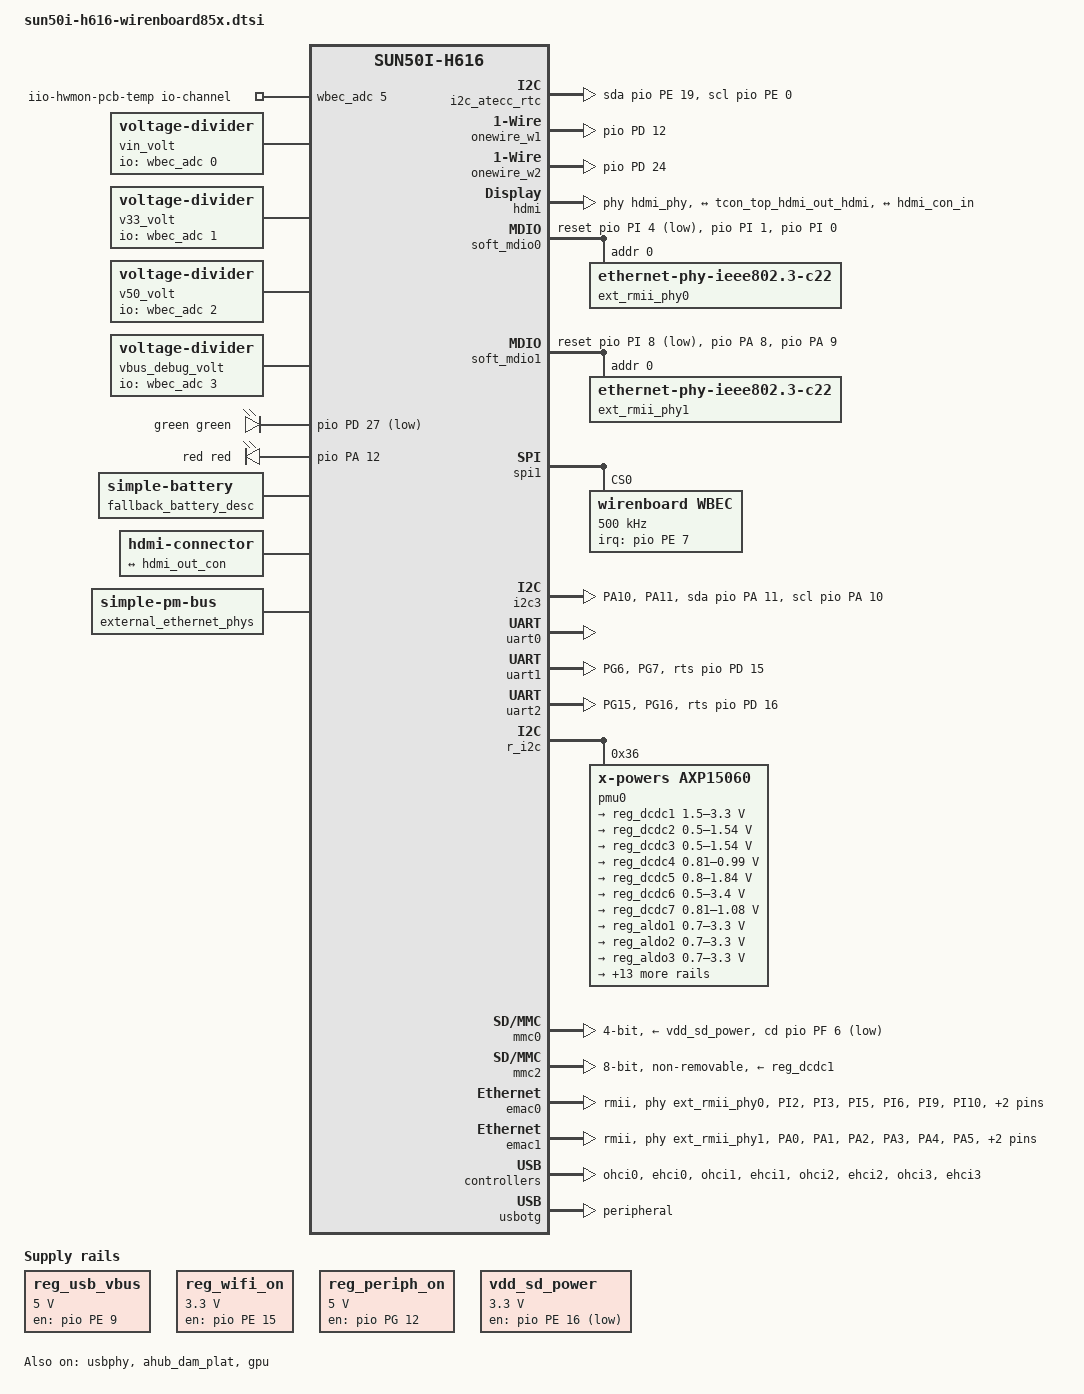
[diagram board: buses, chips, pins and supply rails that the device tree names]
// SPDX-License-Identifier: (GPL-2.0+ OR MIT)
// vim: autoindent noexpandtab tabstop=4 shiftwidth=4
/*
 * Copyright (C) 2024 Wiren Board
 */

/dts-v1/;

#include "sun50i-h616.dtsi"
#include "sun50i-h616-cpu-opp.dtsi"
#include "sun50i-h616-gpu-opp.dtsi"

#include <dt-bindings/gpio/gpio.h>
#include <dt-bindings/interrupt-controller/arm-gic.h>
#include <dt-bindings/leds/common.h>

#define PA 0
#define PB 1
#define PC 2
#define PD 3
#define PE 4
#define PF 5
#define PG 6
#define PH 7
#define PI 8

/ {
	aliases: aliases {
		serial0 = &uart0;
		serial1 = &uart1;
		serial2 = &uart2;
		serial4 = &uart4;
		serial5 = &uart5;
		mmc0 = &mmc2;
		mmc1 = &mmc0;
		mdio-gpio0 = &soft_mdio0;
		mdio-gpio1 = &soft_mdio1;
		ethernet0 = &emac0;
		ethernet1 = &emac1;
		watchdog0 = &watchdog;  // internal
		watchdog1 = &wbec_watchdog;
		i2c0 = &r_i2c;  // PMIC
		i2c1 = &i2c3;  // WBIO
		i2c2 = &i2c_atecc_rtc;  // ATECC must be on i2c2 for compatibility
		rtc0 = &rtc_onboard;
		rtc1 = &rtc;
		wbc_modem = &wbc_modem;
		rtc_onboard = &rtc_onboard;
		sound0 = &ahub1_mach;
	};

	wirenboard {
		adc-type = <3>;
		pwm-buzzer = <0>;

		analog-inputs {
			/* we don't use standard 'io-channels = <&adc1 N>' here because
			   there is seemingly no way to associate iio channel index (N
			   in above example) with channel name as in sysfs path
			*/
			A1 {
				iio-device = <&a1_volt>;
				decimal-places = <1>;
				averaging-window = <1>;
				sort-order = <0>;
			};

			A2 {
				iio-device = <&a2_volt>;
				decimal-places = <1>;
				averaging-window = <1>;
				sort-order = <1>;
			};

			A3 {
				iio-device = <&a3_volt>;
				decimal-places = <1>;
				averaging-window = <1>;
				sort-order = <2>;
			};

			A4 {
				iio-device = <&a4_volt>;
				decimal-places = <1>;
				averaging-window = <1>;
				sort-order = <2>;
			};

			Vin {
				iio-device = <&vin_volt>;
				decimal-places = <1>;
				averaging-window = <1>;
				sort-order = <3>;
			};

			V3_3 {
				iio-device = <&v33_volt>;
				decimal-places = <3>;
				averaging-window = <1>;
				sort-order = <4>;
			};

			V5_0 {
				iio-device = <&v50_volt>;
				decimal-places = <3>;
				averaging-window = <1>;
				sort-order = <5>;
			};

			Vbus_debug {
				iio-device = <&vbus_debug_volt>;
				decimal-places = <2>;
				averaging-window = <1>;
				sort-order = <6>;
			};
		};

		gpios {
			A1_OUT {
				io-gpios = <&pio PE 5 GPIO_ACTIVE_HIGH>;
				gpio-xlate-type = "bank_pin";
				gpio-pins-per-bank = <32>;
				output-low;
				sort-order = <0>;
			};

			A2_OUT {
				io-gpios = <&pio PD 23 GPIO_ACTIVE_HIGH>;
				gpio-xlate-type = "bank_pin";
				gpio-pins-per-bank = <32>;
				output-low;
				sort-order = <1>;
			};

			A3_OUT {
				io-gpios = <&pio PG 9 GPIO_ACTIVE_HIGH>;
				gpio-xlate-type = "bank_pin";
				gpio-pins-per-bank = <32>;
				output-low;
				sort-order = <2>;
			};

			A4_OUT {
				io-gpios = <&pio PG 11 GPIO_ACTIVE_HIGH>;
				gpio-xlate-type = "bank_pin";
				gpio-pins-per-bank = <32>;
				output-low;
				sort-order = <3>;
			};

			A1_IN {
				io-gpios = <&pio PH 9 GPIO_ACTIVE_LOW>;
				gpio-xlate-type = "bank_pin";
				gpio-pins-per-bank = <32>;
				input;
				sort-order = <4>;
			};

			A2_IN {
				io-gpios = <&pio PH 4 GPIO_ACTIVE_LOW>;
				gpio-xlate-type = "bank_pin";
				gpio-pins-per-bank = <32>;
				input;
				sort-order = <5>;
			};

			A3_IN {
				io-gpios = <&pio PD 25 GPIO_ACTIVE_LOW>;
				gpio-xlate-type = "bank_pin";
				gpio-pins-per-bank = <32>;
				input;
				sort-order = <6>;
			};

			A4_IN {
				io-gpios = <&pio PD 20 GPIO_ACTIVE_LOW>;
				gpio-xlate-type = "bank_pin";
				gpio-pins-per-bank = <32>;
				input;
				sort-order = <7>;
			};

			5V_OUT {
				io-gpios = <&pio PG 13 GPIO_ACTIVE_HIGH>;
				gpio-xlate-type = "bank_pin";
				gpio-pins-per-bank = <32>;
				output-high;
				sort-order = <8>;
			};

			V_OUT {
				io-gpios = <&wbec_gpio 4 GPIO_ACTIVE_HIGH>;
				output-high;
				sort-order = <9>;
			};
		};

		hwmon-nodes {
			cputemp {
				title = "CPU Temperature";
				hwmon-node-name = "cpu_thermal";
				hwmon-channel = "temp1";
			};

			pcbtemp {
				title = "Board Temperature";
				hwmon-node-name = "iio-hwmon-pcb-temp";
				hwmon-channel = "temp1";
			};
		};
	};

	iio-hwmon-pcb-temp {
		compatible = "iio-hwmon";
		io-channels = <&wbec_adc 5>;
	};

	vin_volt: vin-volt {
		compatible = "voltage-divider";
		io-channels = <&wbec_adc 0>;
		#io-channel-cells = <1>;

		output-ohms = <1>;
		full-ohms = <1>;
	};

	v33_volt: v33-volt {
		compatible = "voltage-divider";
		io-channels = <&wbec_adc 1>;
		#io-channel-cells = <1>;

		output-ohms = <1>;
		full-ohms = <1>;
	};

	v50_volt: v50-volt {
		compatible = "voltage-divider";
		io-channels = <&wbec_adc 2>;
		#io-channel-cells = <1>;

		output-ohms = <1>;
		full-ohms = <1>;
	};

	vbus_debug_volt: vbus-debug-volt {
		compatible = "voltage-divider";
		io-channels = <&wbec_adc 3>;
		#io-channel-cells = <1>;

		output-ohms = <1>;
		full-ohms = <1>;
	};

	leds-gpio {
		compatible = "gpio-leds";

		green {
			label = "green";
			color = <LED_COLOR_ID_GREEN>;
			gpios = <&pio PD 27 GPIO_ACTIVE_LOW>;
			default-state = "off";
			active-low;
			linux,default-trigger = "default-off";
		};

		red {
			label = "red";
			color = <LED_COLOR_ID_RED>;
			gpios = <&pio PA 12 GPIO_ACTIVE_HIGH>;
			linux,default-trigger = "timer";
		};
	};

	chosen {
		stdout-path = "serial0:115200n8";
	};

	regulators {
		compatible = "simple-bus";
		#address-cells = <1>;
		#size-cells = <0>;

		reg_usb_vbus: regulator@1 {
			compatible = "regulator-fixed";
			gpio = <&pio PE 9 GPIO_ACTIVE_HIGH>;
			regulator-name = "usb-vbus";
			regulator-min-microvolt = <5000000>;
			regulator-max-microvolt = <5000000>;
			enable-active-high;
		};

		reg_wifi_on: regulator@2 {
			compatible = "regulator-fixed";
			gpio = <&pio PE 15 GPIO_ACTIVE_HIGH>;
			enable-active-high;
			regulator-name = "wifi-on";
			regulator-min-microvolt = <3300000>;
			regulator-max-microvolt = <3300000>;
		};

		reg_periph_on: regulator@4 {
			compatible = "regulator-fixed";
			gpio = <&pio PG 12 GPIO_ACTIVE_HIGH>;
			regulator-name = "periph-on";
			regulator-min-microvolt = <5000000>;
			regulator-max-microvolt = <5000000>;
			enable-active-high;
			regulator-always-on;  // FIXME: ehci driver does not enable it on boot
		};

		vdd_sd_power: regulator@5 {
			compatible = "regulator-fixed";
			gpio = <&pio PE 16 GPIO_ACTIVE_LOW>;
			regulator-name = "vdd-sd-power";
			regulator-min-microvolt = <3300000>;
			regulator-max-microvolt = <3300000>;
			regulator-always-on;
		};
	};

	h616_vqmmc_regulator: mmc-regulator {
		compatible = "allwinner,h616-mmc-regulator";
		syscon = <&pio>;
		regulator-min-microvolt = <1800000>;
		regulator-max-microvolt = <3300000>;
		regulator-boot-on;
	};
	/*
	Because PMIC battery driver must be enabled at boot time,
	we have to give it  some battery description to
	override default (or preserved from last boot) register
	values when it comes to charging voltage and current
	*/
	fallback_battery_desc: fallback-battery-desc {
		compatible = "simple-battery";
		constant-charge-current-max-microamp = <600000>;
		voltage-min-design-microvolt = <2900000>;
		constant-charge-voltage-max-microvolt = <4100000>;
		charge-full-design-microamp-hours = <2600000>;
		status = "okay";
	};

	/* ATECC (should be alone on the bus; check errata) */
	i2c_atecc_rtc: i2c_atecc_rtc {
		compatible = "i2c-gpio";

		sda-gpios = <&pio PE 19 GPIO_ACTIVE_HIGH>;
		scl-gpios = <&pio PE 0 GPIO_ACTIVE_HIGH>;
		i2c-gpio,delay-us = <2>;  // ~100 kHz

		#address-cells = <1>;
		#size-cells = <0>;
		status = "okay";
	};

	i2c_wbec: i2c_wbec {
		compatible = "i2c-gpio";
		sda-gpios = <&pio PH 7 GPIO_ACTIVE_HIGH>; /* sda/mosi */
		scl-gpios = <&pio PH 8 GPIO_ACTIVE_HIGH>; /* scl/miso */

		i2c-gpio,delay-us = <2>;	/* ~100 kHz */

		#address-cells = <1>;
		#size-cells = <0>;
		status = "disabled";
	};

	onewire_w1: onewire_w1 {
		compatible = "w1-gpio";
		gpios = <&pio PD 12 (GPIO_ACTIVE_HIGH | GPIO_OPEN_DRAIN)>;
		pu-gpios = <&pio PG 8 GPIO_ACTIVE_HIGH>;
		status = "okay";
	};

	onewire_w2: onewire_w2 {
		compatible = "w1-gpio";
		gpios = <&pio PD 24 (GPIO_ACTIVE_HIGH | GPIO_OPEN_DRAIN)>;
		pu-gpios = <&pio PE 21 GPIO_ACTIVE_HIGH>;
		status = "okay";
	};

	mod1_dummy: mod1_dummy {
		// only to provide wb-hwconf-manager compatibility
		status = "disabled";
	};

	de: display-engine {
		compatible = "allwinner,sun50i-h6-display-engine";
        memory-region = <&de_cma>;
		allwinner,pipelines = <&mixer0>;
		status = "disabled";
	};

	reserved-memory {
        de_cma: de-cma {
            compatible = "shared-dma-pool";
            reusable;
            size = <0x0 0x10000000>;           // 256 MiB
            alignment = <0x0 0x00800000>;
        };
    };

	soc {
		dma: dma-controller@3002000 {
			compatible = "allwinner,sun50i-h6-dma";
			reg = <0x3002000 0x1000>;
			interrupts = <GIC_SPI 42 IRQ_TYPE_LEVEL_HIGH>;
			clocks = <&ccu CLK_BUS_DMA>, <&ccu CLK_MBUS_DMA>;
			clock-names = "ahb", "mbus";
			dma-channels = <16>;
			dma-requests = <32>;
			resets = <&ccu RST_BUS_DMA>;
			#dma-cells = <1>;
		};

		ahub_dam_plat: ahub_dam_plat@5097000 {
			#sound-dai-cells = <0>;
			/* sound card without pcm for hardware mix setting */
			compatible = "allwinner,sunxi-snd-plat-ahub_dam";
			reg = <0x05097000 0x1000>;
			resets = <&ccu RST_BUS_AUDIO_HUB>;
			clocks = <&ccu CLK_AUDIO_CODEC_1X>,
				 <&ccu CLK_AUDIO_CODEC_4X>,
				 <&ccu CLK_AUDIO_HUB>,
				 <&ccu CLK_BUS_AUDIO_HUB>;
			clock-names = "clk_pll_audio",
				      "clk_pll_audio_4x",
				      "clk_audio_hub",
				      "clk_bus_audio_hub";
			status = "okay";
		};

		ahub1_plat: ahub1_plat {
			#sound-dai-cells = <0>;
			compatible = "allwinner,sunxi-snd-plat-ahub";
			apb_num = <1>; /* for dma port 4 */
			dmas = <&dma 4>, <&dma 4>;
			dma-names = "tx", "rx";
			playback_cma = <128>;
			capture_cma = <128>;
			tx_fifo_size = <128>;
			rx_fifo_size = <128>;

			tdm_num = <1>;
			tx_pin = <0>;
			rx_pin = <0>;
			status = "okay";
		};

		ahub1_mach: ahub1_mach {
			compatible = "allwinner,sunxi-snd-mach";
			soundcard-mach,name = "Wirenboard HDMI";

			soundcard-mach,format = "i2s";
			soundcard-mach,frame-master = <&ahub1_cpu>;
			soundcard-mach,bitclock-master = <&ahub1_cpu>;
			/* soundcard-mach,frame-inversion; */
			/* soundcard-mach,bitclock-inversion; */
			soundcard-mach,slot-num = <2>;
			soundcard-mach,slot-width = <32>;
			status = "okay";

			ahub1_cpu: soundcard-mach,cpu {
				sound-dai = <&ahub1_plat>;
				soundcard-mach,pll-fs = <1>;
				soundcard-mach,mclk-fs = <0>;
			};

			ahub1_codec: soundcard-mach,codec {
				sound-dai = <&hdmi>;
			};
		};


		pwm: pwm@300A000 {
			pinctrl-0 = <&pwm_ch1_pg_pins>;
			pinctrl-names = "default";

			compatible = "allwinner,sun50i-t507-pwm";
			reg = <0x300A000 0x400>;
			clocks = <&ccu CLK_BUS_PWM>, <&ccu CLK_APB1>, <&osc24M>;
			clock-names = "bus", "apb0", "hosc";
			resets = <&ccu RST_BUS_PWM>;
			#pwm-cells = <0x3>;

			/*
				Disable SOC's PWM because we need wbec-pwm to be pwmchip0.
				wbec-pwm controls the buzzer and we have a lot of hardcode references to pwmchip0 in the system.
			*/
			status = "disabled";
		};

		bus@1000000 {
			compatible = "allwinner,sun50i-h616-de33",
				     "allwinner,sun50i-a64-de2";
			reg = <0x1000000 0x400000>;
			allwinner,sram = <&de3_sram 1>;
			#address-cells = <1>;
			#size-cells = <1>;
			ranges = <0 0x1000000 0x400000>;

			display_clocks: clock@8000 {
				compatible = "allwinner,sun50i-h616-de33-clk";
				reg = <0x8000 0x100>;
				clocks = <&ccu CLK_DE>, <&ccu CLK_BUS_DE>;
				clock-names = "mod", "bus";
				resets = <&ccu RST_BUS_DE>;
				#clock-cells = <1>;
				#reset-cells = <1>;
			};

			mixer0: mixer@100000 {
				compatible = "allwinner,sun50i-h616-de33-mixer-0";
				reg = <0x100000 0x100000>,
				      <0x8100 0x40>,
				      <0x280000 0x20000>;
				clocks = <&display_clocks CLK_BUS_MIXER0>,
					 <&display_clocks CLK_MIXER0>;
				clock-names = "bus", "mod";
				resets = <&display_clocks RST_MIXER0>;

				ports {
					#address-cells = <1>;
					#size-cells = <0>;

					mixer0_out: port@1 {
						reg = <1>;

						mixer0_out_tcon_top_mixer0: endpoint {
							remote-endpoint = <&tcon_top_mixer0_in_mixer0>;
						};
					};
				};
			};
		}; /* bus */

		gpu: gpu@1800000 {
			compatible = "allwinner,sun50i-h616-mali",
				     "arm,mali-bifrost";
			reg = <0x1800000 0x40000>;
			interrupts = <GIC_SPI 95 IRQ_TYPE_LEVEL_HIGH>,
				     <GIC_SPI 96 IRQ_TYPE_LEVEL_HIGH>,
				     <GIC_SPI 97 IRQ_TYPE_LEVEL_HIGH>;
			interrupt-names = "job", "mmu", "gpu";
			clocks = <&ccu CLK_GPU0>, <&ccu CLK_BUS_GPU>;
			clock-names = "core", "bus";
			resets = <&ccu RST_BUS_GPU>;
			#cooling-cells = <2>;
			status = "disabled";
		};

		video-codec@1c0e000 {
			compatible = "allwinner,sun50i-h616-video-engine";
			reg = <0x01c0e000 0x2000>;
			clocks = <&ccu CLK_BUS_VE>, <&ccu CLK_VE>,
				 <&ccu CLK_MBUS_VE>;
			clock-names = "ahb", "mod", "ram";
			resets = <&ccu RST_BUS_VE>;
			interrupts = <GIC_SPI 93 IRQ_TYPE_LEVEL_HIGH>;
			allwinner,sram = <&ve_sram 1>;
		};

		hdmi: hdmi@6000000 {
			#sound-dai-cells = <0>;
			compatible = "allwinner,sun50i-h616-dw-hdmi",
				     "allwinner,sun50i-h6-dw-hdmi";
			reg = <0x06000000 0x10000>;
			reg-io-width = <1>;
			interrupts = <GIC_SPI 63 IRQ_TYPE_LEVEL_HIGH>;
			clocks = <&ccu CLK_BUS_HDMI>, <&ccu CLK_HDMI_SLOW>,
				 <&ccu CLK_HDMI>, <&ccu CLK_HDMI_CEC>,
				 <&ccu CLK_HDCP>, <&ccu CLK_BUS_HDCP>;
			clock-names = "iahb", "isfr", "tmds", "cec", "hdcp",
				      "hdcp-bus";
			resets = <&ccu RST_BUS_HDMI>, <&ccu RST_BUS_HDCP>;
			reset-names = "ctrl", "hdcp";
			phys = <&hdmi_phy>;
			phy-names = "phy";
			status = "disabled";

			ports {
				#address-cells = <1>;
				#size-cells = <0>;

				hdmi_in: port@0 {
					reg = <0>;

					hdmi_in_tcon_top: endpoint {
						remote-endpoint = <&tcon_top_hdmi_out_hdmi>;
					};
				};

				hdmi_out: port@1 {
					reg = <1>;
				};
			};
		};

		hdmi_phy: hdmi-phy@6010000 {
			compatible = "allwinner,sun50i-h616-hdmi-phy";
			reg = <0x06010000 0x10000>;
			clocks = <&ccu CLK_BUS_HDMI>, <&ccu CLK_HDMI_SLOW>;
			clock-names = "bus", "mod";
			resets = <&ccu RST_BUS_HDMI_SUB>;
			reset-names = "phy";
			#phy-cells = <0>;
		};

		tcon_top: tcon-top@6510000 {
			compatible = "allwinner,sun50i-h6-tcon-top";
			reg = <0x06510000 0x1000>;
			clocks = <&ccu CLK_BUS_TCON_TOP>,
				 <&ccu CLK_TCON_TV0>;
			clock-names = "bus",
				      "tcon-tv0";
			clock-output-names = "tcon-top-tv0";
			resets = <&ccu RST_BUS_TCON_TOP>;
			#clock-cells = <1>;

			ports {
				#address-cells = <1>;
				#size-cells = <0>;

				tcon_top_mixer0_in: port@0 {
					#address-cells = <1>;
					#size-cells = <0>;
					reg = <0>;

					tcon_top_mixer0_in_mixer0: endpoint@0 {
						reg = <0>;
						remote-endpoint = <&mixer0_out_tcon_top_mixer0>;
					};
				};

				tcon_top_mixer0_out: port@1 {
					#address-cells = <1>;
					#size-cells = <0>;
					reg = <1>;

					tcon_top_mixer0_out_tcon_tv: endpoint@2 {
						reg = <2>;
						remote-endpoint = <&tcon_tv_in_tcon_top_mixer0>;
					};
				};

				tcon_top_hdmi_in: port@4 {
					#address-cells = <1>;
					#size-cells = <0>;
					reg = <4>;

					tcon_top_hdmi_in_tcon_tv: endpoint@0 {
						reg = <0>;
						remote-endpoint = <&tcon_tv_out_tcon_top>;
					};
				};

				tcon_top_hdmi_out: port@5 {
					reg = <5>;

					tcon_top_hdmi_out_hdmi: endpoint {
						remote-endpoint = <&hdmi_in_tcon_top>;
					};
				};
			};
		};

		tcon_tv: lcd-controller@6515000 {
			compatible = "allwinner,sun50i-h6-tcon-tv",
				     "allwinner,sun8i-r40-tcon-tv";
			reg = <0x06515000 0x1000>;
			interrupts = <GIC_SPI 66 IRQ_TYPE_LEVEL_HIGH>;
			clocks = <&ccu CLK_BUS_TCON_TV0>,
				 <&tcon_top CLK_TCON_TOP_TV0>;
			clock-names = "ahb",
				      "tcon-ch1";
			resets = <&ccu RST_BUS_TCON_TV0>;
			reset-names = "lcd";

			ports {
				#address-cells = <1>;
				#size-cells = <0>;

				tcon_tv_in: port@0 {
					reg = <0>;

					tcon_tv_in_tcon_top_mixer0: endpoint {
						remote-endpoint = <&tcon_top_mixer0_out_tcon_tv>;
					};
				};

				tcon_tv_out: port@1 {
					#address-cells = <1>;
					#size-cells = <0>;
					reg = <1>;

					tcon_tv_out_tcon_top: endpoint@1 {
						reg = <1>;
						remote-endpoint = <&tcon_top_hdmi_in_tcon_tv>;
					};
				};
			};
		};

		prcm_ppu: power-controller@7010250 {
			compatible = "allwinner,sun50i-h616-prcm-ppu";
			reg = <0x07010250 0x10>;
			#power-domain-cells = <1>;
		};

	};

	thermal-zones {
	/*
		target minimum lifetime is 100 000 hours or ~11.5 years.
		As per T517 chip lifetime evaluation guide, it corresponds to
		junction temperature of:
			125C @ 0.900V (note it's also absolute maximum Tj)
			115С @ 0.950V (not in the source, intrapolated)
			105C @ 1.000V
			95C  @ 1.050V
			85C  @ 1.100V (not in the source, extrapolated)

		Taking into account that the temperature sensor accuracy is
		±3°C from 0°C to +100°C, ±5°C from -25°C to +125°C Tj, max allowed
		junction temperature should be:
			120C @ 0.900V
			110C @ 0.950V
			100C @ 1.000V (lower voltage to below 1.0V once hit 100C)
			92C  @ 1.050V (lower voltage to below 1.05V once hit 92C)
			82C  @ 1.100V (lower voltage to below 1.1V once hit 82C)
	*/
		cpu-thermal {
			sustainable-power = <1100>;

			k_po = <45>;
			k_pu = <90>;
			k_i = <0>;
			/delete-node/ trips;
			/delete-node/ cooling-maps;

			trips {
				cpu_max_for_1100mv: cpu-trip-0 {
					temperature = <82000>;
					type = "passive";
					hysteresis = <500>;
				};
				cpu_max_for_1050mv: cpu-trip-1 {
					temperature = <92000>;
					type = "passive";
					hysteresis = <500>;
				};

				cpu_max_for_1000mv: cpu-trip-2 {
					temperature = <100000>;
					type = "passive";
					hysteresis = <500>;
				};

				cpu_max_for_950mv: cpu-trip-3 {
					temperature = <110000>;
					type = "passive";
					hysteresis = <500>;
				};


				cpu_critical: cpu-trip-4 {
					/*
						120C is the maximum recommended Tj,
						temperature sensor accuracy is +/-5C @ Tj>100C
						so we should not exceed 115C just in case
					*/
					temperature = <115000>;
					type = "critical";
					hysteresis = <0>;
				};
			};
			cooling-maps {
				/*
					The OPP voltages depends on revision and speed grade.
					Anyway:
					2: 1200 MHz, 1.02V - 1.10V, 1.05V on ours
					3: 1104 MHz, 1.00V (use it to go lower than 1.05V)
					4: 1008 MHz, 0.94V - 1.02V, 0.95V on ours
					5:  936 MHz, 0.90V (lowest voltage, allowed at any Tj)
					6:  720 MHz, 0.90V
				*/

				/*
					The first two maps are to limit the voltage.
					That's why we don't allow lower frequencies on the cooling device.
				*/
				map0 {
					trip = <&cpu_max_for_1100mv>;
					cooling-device = <&cpu0 2 2>,
									 <&cpu1 2 2>,
									 <&cpu2 2 2>,
									 <&cpu3 2 2>;
				};

				map1 {
					trip = <&cpu_max_for_1050mv>;
					cooling-device = <&cpu0 3 3>,
									 <&cpu1 3 3>,
									 <&cpu2 3 3>,
									 <&cpu3 3 3>;
				};

				/*
					This is our target temperature point.
					We nevertheless limit the frequency to 480 MHz, so the performace
					is not too low.
				*/
				map2 {
					trip = <&cpu_max_for_1000mv>;
					cooling-device = <&cpu0 4 7>,
									 <&cpu1 4 7>,
									 <&cpu2 4 7>,
									 <&cpu3 4 7>;
				};

				/*
					At this point we should do everything to maintain the temperature.
				*/
				map3 {
					trip = <&cpu_max_for_950mv>;
					cooling-device = <&cpu0 5 THERMAL_NO_LIMIT>,
									 <&cpu1 5 THERMAL_NO_LIMIT>,
									 <&cpu2 5 THERMAL_NO_LIMIT>,
									 <&cpu3 5 THERMAL_NO_LIMIT>;
				};
			};
		}; /* cpu-thermal */


		gpu-thermal {
			polling-delay-passive = <500>;
			polling-delay = <1000>;
			thermal-sensors = <&ths 0>;
			sustainable-power = <1100>;

			trips {
				gpu_temp_threshold: gpu-trip-0 {
					temperature = <65000>;
					type = "passive";
					hysteresis = <2000>;
				};
				gpu_temp_target: gpu-trip-1 {
					temperature = <75000>;
					type = "hot";
					hysteresis = <2000>;
				};
				gpu_temp_hot: gpu-trip-2 {
					temperature = <85000>;
					type = "hot";
					hysteresis = <2000>;
				};
				gpu_temp_critical: gpu-trip-3 {
					temperature = <110000>;
					type = "critical";
					hysteresis = <0>;
				};
			};

            cooling-maps {
                map0 {
                    trip = <&gpu_temp_threshold>;
                    cooling-device = <&gpu THERMAL_NO_LIMIT 15>;
                };

                map1 {
                    trip = <&gpu_temp_target>;
                    cooling-device = <&gpu THERMAL_NO_LIMIT 10>;
                };

                map2 {
                    trip = <&gpu_temp_hot>;
                    cooling-device = <&gpu THERMAL_NO_LIMIT 5>;
                };

                map3 {
                    trip = <&gpu_temp_critical>;
                    cooling-device = <&gpu 0 0>;
                };
            };
		}; /* gpu-thermal */

	};



	connector {
		compatible = "hdmi-connector";
		type = "a";

		port {
			hdmi_con_in: endpoint {
				remote-endpoint = <&hdmi_out_con>;
			};
		};
	};

};

// override GPU, VE and DDR critical temperatures
&gpu_temp_critical {
	temperature = <115000>;
};
&ve_temp_critical {
	temperature = <115000>;
};
&ddr_temp_critical {
	temperature = <115000>;
};

&spi1 {
	pinctrl-names = "default";
	pinctrl-0 = <&spi1_pins>, <&spi1_cs0_pin>;
	status = "okay";

	wbec: wbec@0 {
		spi-max-frequency = <500000>;
		spi-cs-inactive-delay-ns = <100000>;

		compatible = "wirenboard,wbec";
		reg = <0>;
		status = "okay";
		#address-cells = <1>;
		#size-cells = <0>;

		interrupt-parent = <&pio>;
		interrupts = <PE 7 IRQ_TYPE_EDGE_RISING>;

		wbec_watchdog: wbec-watchdog@0 {
			compatible = "wirenboard,wbec-watchdog";
			reg = <0>;
		};

		wbec-pwrkey@0 {
			compatible = "wirenboard,wbec-pwrkey";
			reg = <0>;
		};

		rtc_onboard: wbec-rtc@0 {
			compatible = "wirenboard,wbec-rtc";
			reg = <0>;

			wakeup-source;
		};

		wbec_gpio: wbec-gpio@0 {
			compatible = "wirenboard,wbec-gpio";
			reg = <0>;

			gpio-controller;
			#gpio-cells = <2>;
			ngpios = <11>;
			gpio-line-names =
				"EC A1", "EC A2", "EC A3", "EC A4",
				"V_OUT ON",
				"MOD1 TX", "MOD1 RX", "MOD1 RTS",
				"MOD2 TX", "MOD2 RX", "MOD2 RTS";
		};

		wbec_adc: wbec-adc@0 {
			compatible = "wirenboard,wbec-adc";
			reg = <0>;
			#io-channel-cells = <1>;
		};

		vin: wbec-power@0 {
			compatible = "wirenboard,wbec-power";
			reg = <0>;
		};

		wbec_battery: wbec-battery@0 {
			compatible = "wirenboard,wbec-battery";
			reg = <0>;
		};

		wbec_pwm: pwm@0 {
			compatible = "wirenboard,wbec-pwm";
			reg = <0>;
			#pwm-cells = <3>;
		};

		wbec_uart_mod1: serial@0 {
			compatible = "wirenboard,wbec-uart";
			reg = <0>;

			status = "disabled";
		};

		wbec_uart_mod2: serial@1 {
			compatible = "wirenboard,wbec-uart";
			reg = <1>;

			status = "disabled";
		};
	};
};

/* WBIO I2C */
&i2c3 {
	pinctrl-names = "default", "gpio";
	pinctrl-0 = <&i2c3_pa_pins>;
	pinctrl-1 = <&i2c3_gpio>;

	scl-gpios = <&pio PA 10 GPIO_ACTIVE_HIGH>; /* PA10 */
	sda-gpios = <&pio PA 11 GPIO_ACTIVE_HIGH>; /* PA11 */

	status = "okay";
};


&pio {
	gpio-line-names =
	/* PA */
	"", "", "", "",  /* 0-3 */
	"", "", "", "",  /* 4-7 */
	"", "", "WBIO SCL", "WBIO SDA",  /* 8-11 */
	"RED LED", "", "", "",  /* 12-15 */
	"", "", "", "",  /* 16-19 */
	"", "", "", "",  /* 20-23 */
	"", "", "", "",  /* 24-27 */
	"", "", "", "",  /* 28-31 */
	/* PB */
	"", "", "", "",  /* 0-3 */
	"", "", "", "",  /* 4-7 */
	"", "", "", "",  /* 8-11 */
	"", "", "", "",  /* 12-15 */
	"", "", "", "",  /* 16-19 */
	"", "", "", "",  /* 20-23 */
	"", "", "", "",  /* 24-27 */
	"", "", "", "",  /* 28-31 */
	/* PC */
	"", "", "", "",  /* 0-3 */
	"", "", "", "",  /* 4-7 */
	"", "", "", "",  /* 8-11 */
	"BAT SCK", "", "", "",  /* 12-15 */
	"", "", "", "",  /* 16-19 */
	"", "", "", "",  /* 20-23 */
	"", "", "", "",  /* 24-27 */
	"", "", "", "",  /* 28-31 */
	/* PD */
	"", "", "", "",  /* 0-3 */
	"", "", "", "",  /* 4-7 */
	"", "", "MOD4 RTS", "",  /* 8-11 */
	"W1", "BAT SDA", "", "RS-485-2 RTS",  /* 12-15 */
	"RS-485-1 RTS", "RS-485-1 FAILSAFE", "RS-485-2 FAILSAFE", "RS-485-1 TERMINATION",  /* 16-19 */
	"A4 IN", "RS-485-2 TERMINATION", "", "A2 OUT",  /* 20-23 */
	"W2", "A3 IN", "", "GREEN LED",  /* 24-27 */
	"", "", "", "",  /* 28-31 */
	/* PE */
	"RTC SCL", "", "SIM_SELECT", "",  /* 0-3 */
	"GSM ON", "A1 OUT", "", "EC INT",  /* 4-7 */
	"", "USB0 ON", "", "",  /* 8-11 */
	"GSM STATUS", "", "CAN RX", "WI-FI ON",  /* 12-15 */
	"MICROSD POWER", "", "EC RESET", "RTC SDA",  /* 16-19 */
	"WBIO INT", "W2 UP", "EC SWCLK/BOOT0", "",  /* 20-23 */
	"", "", "", "",  /* 24-27 */
	"", "", "", "",  /* 28-31 */
	/* PF */
	"MICROSD D1", "MICROSD D0", "MICROSD CLK", "MICROSD CMD",  /* 0-3 */
	"MICROSD D3", "MICROSD D2", "MICROSD CD", "",  /* 4-7 */
	"", "", "", "",  /* 8-11 */
	"", "", "", "",  /* 12-15 */
	"", "", "", "",  /* 16-19 */
	"", "", "", "",  /* 20-23 */
	"", "", "", "",  /* 24-27 */
	"", "", "", "",  /* 28-31 */
	/* PG */
	"", "SOM SPI MISO", "", "",  /* 0-3 */
	"", "", "RS-485-2 TX", "RS-485-2 RX",  /* 4-7 */
	"W1 UP", "A3 OUT", "X32FKOUT", "A4 OUT",  /* 8-11 */
	"ON PERIPH", "5V_OUT ON", "GSM PWRKEY", "RS-485-1 TX",  /* 12-15 */
	"RS-485-1 RX", "", "", "",  /* 16-19 */
	"", "", "", "",  /* 20-23 */
	"", "", "", "",  /* 24-27 */
	"", "", "", "",  /* 28-31 */
	/* PH */
	"DEBUG UART TX", "DEBUG UART RX", "MOD4 TX", "MOD4 RX",  /* 0-3 */
	"A2 IN", "EC CS", "EC CLK", "EC MOSI",  /* 4-7 */
	"EC MISO", "A1 IN", "PUSHBUTTON", "",  /* 8-11 */
	"", "", "", "",  /* 12-15 */
	"", "", "", "",  /* 16-19 */
	"", "", "", "",  /* 20-23 */
	"", "", "", "",  /* 24-27 */
	"", "", "", "",  /* 28-31 */
	/* PI */
	"", "", "", "",  /* 0-3 */
	"", "", "", "CAN TX",  /* 4-7 */
	"", "", "", "",  /* 8-11 */
	"", "MOD3 TX", "MOD3 RX", "MOD3 RTS",  /* 12-15 */
	"", "", "", "",  /* 16-19 */
	"", "", "", "",  /* 20-23 */
	"", "", "", "",  /* 24-27 */
	"", "", "", "";  /* 28-31 */

	pwm_ch5_pa_pins: pwm_ch5_pa_pins {
		pins = "PA12";
		function = "pwm5";
		drive-strength = <40>;
	};

	pwm_ch1_pg_pins: pwm_ch1_pg_pins {
		pins = "PG19";
		function = "pwm1";
		drive-strength = <40>;
	};

	/* RS-485-1 */
	pinctrl_rs485_1_uart_rs485: rs485-1-uart-rs485-pins {
		pins = "PG15", "PG16";
		function = "uart2";
	};

	/* RS-485-2 */
	pinctrl_rs485_2_uart_rs485: rs485-2-uart-rs485-pins {
		pins = "PG6", "PG7";
		function = "uart1";
	};

	/* W1-W2 */
	pinctrl_w1_gpio: w1-gpio-pins {
		pins = "PD24", "PG8";
		function = "gpio_in";
	};

	pinctrl_w2_gpio: w2-gpio-pins {
		pins = "PE11", "PE21";
		function = "gpio_in";
	};

	/* MOD1 is provided by WB EC */

	/* MOD2 is provided by WB EC */

	/* MOD3 */
	pinctrl_mod3_i2c_gpio: mod3-txrx-i2c-pins {
		pins = "PI13", "PI14";
		function = "gpio_in";
		bias-pull-up;
	};

	pinctrl_mod3_txrx_gpio: mod3-txrx-gpio-pins {
		pins = "PI13", "PI14";
		function = "gpio_in";
	};

	pinctrl_mod3_txrx_uart: mod3-txrx-uart-pins {
		pins = "PI13", "PI14";
		function = "uart4";
	};

	pinctrl_mod3_de_gpio: mod3-de-gpio-pins {
		pins = "PI15";
		function = "gpio_in";
	};

	/* MOD4 */
	pinctrl_mod4_i2c_gpio: mod4-txrx-i2c-pins {
		pins = "PH2", "PH3";
		function = "gpio_in";
		bias-pull-up;
	};

	pinctrl_mod4_txrx_gpio: mod4-txrx-gpio-pins {
		pins = "PH2", "PH3";
		function = "gpio_in";
	};

	pinctrl_mod4_txrx_uart: mod4-txrx-uart-pins {
		pins = "PH2", "PH3";
		function = "uart5";
	};

	pinctrl_mod4_de_gpio: mod4-de-gpio-pins {
		pins = "PD10";
		function = "gpio_in";
	};

	pinctrl_wbec_i2c_gpio: wbec-i2c-pb-pins {
		pins = "PH7", "PH8";
		function = "gpio_in";
		bias-pull-up;
	};
};

/* Debug UART */
&uart0 {
	pinctrl-names = "default";
	pinctrl-0 = <&uart0_ph_pins>;
	status = "okay";
};

/* UARTs */
&uart1 { /* RS485-2 */
	pinctrl-names = "default";
	pinctrl-0 = <&pinctrl_rs485_2_uart_rs485>;

	linux,rs485-enabled-at-boot-time;
	rts-gpios = <&pio PD 15 GPIO_ACTIVE_HIGH>;
	rs485-rts-delay = <0 0>;

	status = "okay";
};

&uart2 { /* RS485-1 */
	pinctrl-names = "default";
	pinctrl-0 = <&pinctrl_rs485_1_uart_rs485>;

	linux,rs485-enabled-at-boot-time;
	rts-gpios = <&pio PD 16 GPIO_ACTIVE_HIGH>;
	rs485-rts-delay = <0 0>;

	status = "okay";
};

/* UART3 pins are used for Ethernet */

&uart4 { /* MOD3 */
	pinctrl-names = "default";
	pinctrl-0 = <&pinctrl_mod3_txrx_uart>;

	cts-override;
	status = "disabled";
};

&uart5 { /* MOD4 */
	pinctrl-names = "default";
	pinctrl-0 = <&pinctrl_mod4_txrx_uart>;

	cts-override;
	status = "disabled";
};

&r_i2c {
	status = "okay";

	pmu0: pmu@36{
		compatible = "x-powers,axp15060";
		reg = <0x36>;
		interrupt-controller;
		#interrupt-cells = <1>;

		wakeup-source;
		overtemp_shutdown = <1>;
		overtemp_value = <145>;

		regulators{
			reg_dcdc1: dcdc1 {
				regulator-name = "dcdc1";
				regulator-min-microvolt = <1500000>;
				regulator-max-microvolt = <3300000>;
				regulator-step-delay-us = <25>;
				regulator-final-delay-us = <50>;
				regulator-always-on;
				under_voltage_shutdown = <1>;
			};

			reg_dcdc2: dcdc2 {
				regulator-name = "dcdc2";
				regulator-min-microvolt = <500000>;
				regulator-max-microvolt = <1540000>;
				regulator-step-delay-us = <25>;
				regulator-final-delay-us = <50>;
				regulator-ramp-delay = <6001>; /* FIXME */
				regulator-always-on;
				under_voltage_shutdown = <1>;
			};

			reg_dcdc3: dcdc3 {
				regulator-name = "dcdc3";
				regulator-min-microvolt = <500000>;
				regulator-max-microvolt = <1540000>;
				regulator-step-delay-us = <25>;
				regulator-final-delay-us = <50>;
				regulator-always-on;
				under_voltage_shutdown = <1>;
			};

			reg_dcdc4: dcdc4 {
				regulator-name = "dcdc4";
				regulator-min-microvolt = <810000>;
				regulator-init-microvolt = <900000>;
				regulator-max-microvolt = <990000>;
				regulator-step-delay-us = <25>;
				regulator-final-delay-us = <50>;
				regulator-enable-ramp-delay = <1000>;
				under_voltage_shutdown = <1>;
				regulator-boot-on;
				regulator-always-on;
			};

			reg_dcdc5: dcdc5 {
				regulator-name = "dcdc5";
				regulator-min-microvolt = <800000>;
				regulator-max-microvolt = <1840000>;
				regulator-step-delay-us = <25>;
				regulator-final-delay-us = <50>;
				regulator-always-on;
				under_voltage_shutdown = <1>;
			};

			reg_dcdc6: dcdc6 {
				regulator-name = "dcdc6";
				regulator-min-microvolt = <500000>;
				regulator-max-microvolt = <3400000>;
				regulator-step-delay-us = <25>;
				regulator-final-delay-us = <50>;
				under_voltage_shutdown = <1>;
			};

			reg_dcdc7: dcdc7 {
				regulator-name = "vdd-gpu";
				regulator-enable-ramp-delay = <32000>;
				regulator-min-microvolt = <810000>;
				regulator-max-microvolt = <1080000>;
				regulator-ramp-delay = <2500>;
			};

			reg_aldo1: aldo1 {
				regulator-name = "aldo1";
				regulator-min-microvolt = <700000>;
				regulator-max-microvolt = <3300000>;
				regulator-step-delay-us = <25>;
				regulator-final-delay-us = <50>;
				regulator-always-on;
			};

			reg_aldo2: aldo2 {
				regulator-name = "aldo2";
				regulator-min-microvolt = <700000>;
				regulator-max-microvolt = <3300000>;
				regulator-step-delay-us = <25>;
				regulator-final-delay-us = <50>;
				regulator-always-on;
			};

			reg_aldo3: aldo3 {
				regulator-name = "aldo3";
				regulator-min-microvolt = <700000>;
				regulator-max-microvolt = <3300000>;
				regulator-step-delay-us = <25>;
				regulator-final-delay-us = <50>;
			};

			reg_aldo4: aldo4 {
				regulator-name = "aldo4";
				regulator-min-microvolt = <700000>;
				regulator-max-microvolt = <3300000>;
				regulator-step-delay-us = <25>;
				regulator-final-delay-us = <50>;
				regulator-always-on;
			};

			reg_aldo5: aldo5 {
				regulator-name = "aldo5";
				regulator-min-microvolt = <700000>;
				regulator-max-microvolt = <3300000>;
				regulator-step-delay-us = <25>;
				regulator-final-delay-us = <50>;
			};

			reg_bldo1: bldo1 {
				regulator-name = "bldo1";
				regulator-min-microvolt = <700000>;
				regulator-max-microvolt = <3300000>;
				regulator-step-delay-us = <25>;
				regulator-final-delay-us = <50>;
				regulator-always-on;  // FIXME should be enabled by gpiod
			};

			reg_bldo2: bldo2 {
				regulator-name = "bldo2";
				regulator-min-microvolt = <700000>;
				regulator-max-microvolt = <3300000>;
				regulator-step-delay-us = <25>;
				regulator-final-delay-us = <50>;
			};

			reg_bldo3: bldo3 {
				regulator-name = "bldo3";
				regulator-min-microvolt = <700000>;
				regulator-max-microvolt = <3300000>;
				regulator-step-delay-us = <25>;
				regulator-final-delay-us = <50>;
			};

			reg_bldo4: bldo4 {
				regulator-name = "bldo4";
				regulator-min-microvolt = <700000>;
				regulator-max-microvolt = <1800000>;
				regulator-step-delay-us = <25>;
				regulator-final-delay-us = <50>;
			};

			reg_bldo5: bldo5 {
				regulator-name = "bldo5";
				regulator-min-microvolt = <700000>;
				regulator-max-microvolt = <3300000>;
				regulator-step-delay-us = <25>;
				regulator-final-delay-us = <50>;
			};

			reg_cldo1: cldo1 {
				regulator-name = "cldo1";
				regulator-min-microvolt = <700000>;
				regulator-max-microvolt = <3300000>;
				regulator-step-delay-us = <25>;
				regulator-final-delay-us = <50>;
			};

			reg_cldo2: cldo2 {
				regulator-name = "cldo2";
				regulator-min-microvolt = <700000>;
				regulator-max-microvolt = <1800000>;
				regulator-step-delay-us = <25>;
				regulator-final-delay-us = <50>;
			};

			reg_cldo3: cldo3 {
				regulator-name = "cldo3";
				regulator-min-microvolt = <700000>;
				regulator-max-microvolt = <3300000>;
				regulator-step-delay-us = <25>;
				regulator-final-delay-us = <50>;
			};

			reg_cldo4: cldo4 {
				regulator-name = "cldo4";
				regulator-min-microvolt = <700000>;
				regulator-max-microvolt = <4200000>;
				regulator-step-delay-us = <25>;
				regulator-final-delay-us = <50>;
			};

			reg_cpusldo: cpusldo {
				regulator-name = "cpusldo";
				regulator-min-microvolt = <700000>;
				regulator-max-microvolt = <1400000>;
				regulator-step-delay-us = <25>;
				regulator-final-delay-us = <50>;
			};

			reg_sw: sw {
				regulator-name = "sw";
				regulator-always-on;
			};
		};
	};
};

&cpu0 {
	cpu-supply = <&reg_dcdc2>;
};

&pio {
	compatible = "allwinner,sun50i-h616-pinctrl", "syscon";
	vcc-pa-supply = <&reg_dcdc1>;
	vcc-pc-supply = <&reg_aldo1>;
	vcc-pd-supply = <&reg_dcdc1>, <&reg_bldo1>;
	vcc-pe-supply = <&reg_dcdc1>;
	vcc-pg-supply = <&reg_dcdc1>;
	vcc-pi-supply = <&reg_dcdc1>;

	mmc0_pins: mmc0-pins {
		drive-strength = <40>;
	};
};

&mmc0 {
	bus-width = <4>;
	cd-gpios = <&pio PF 6 GPIO_ACTIVE_LOW>;
	status = "okay";
	vmmc-supply = <&vdd_sd_power>;
	vqmmc-supply = <&h616_vqmmc_regulator>;

	sd-uhs-sdr104;
	sd-uhs-sdr50;
	sd-uhs-sdr25;
	sd-uhs-sdr12;
	mmc-ddr-1_8v;
	max-frequency = <100000000>; // >= 100Mhz does not work on some flash drives
};

&mmc2 {
	vmmc-supply = <&reg_dcdc1>;
	vqmmc-supply = <&reg_aldo1>;
	bus-width = <8>;
	non-removable;
	mmc-ddr-1_8v;
	mmc-hs200-1_8v;
	mmc-hs400-1_8v;
	no-sdio;
	no-sd;
	cap-mmc-highspeed;
	status = "okay";
};

&reg_dcdc5 {
	regulator-name = "vcc-dram";
	regulator-always-on;
};

&pio {
	ext_emac0_rmii_pins: emac0-rmii-pins {
		pins = "PI2", "PI3", "PI5", "PI6",
			"PI9", "PI10", "PI11", "PI12";
		function = "emac0";
		drive-strength = <40>;
	};

	ext_emac1_rmii_pins: emac1-rmii-pins {
		pins = "PA0", "PA1", "PA2", "PA3", "PA4",
			"PA5", "PA6", "PA7";
		function = "emac1";
		drive-strength = <40>;
	};

	ephy_25m_out_pins: ephy-25m-out-pins {
		pins = "PI16";
		function = "emac0";
		drive-strength = <40>;
	};

	/delete-node/ i2c3-ph-pins;

	i2c3_pa_pins: i2c3-pa-pins {
		pins = "PA10", "PA11";
		function = "i2c3";
		drive-strength = <40>;
	};

	i2c3_gpio: i2c3-gpio-pins {
		pins = "PA10", "PA11";
		function = "gpio_out";
	};
};

/ {
	external_ethernet_phys: external-ethernet-phys {
		compatible = "simple-pm-bus";
		#address-cells = <1>;
		#size-cells = <0>;

		clocks = <&ccu CLK_EMAC_25M>;
		clock-names = "emac-25m";

		pinctrl-names = "default";
		pinctrl-0 = <&ephy_25m_out_pins>;

		soft_mdio0: soft-mdio0 {
			compatible = "virtual,mdio-gpio";
			#address-cells = <1>;
			#size-cells = <0>;

			gpios = <&pio PI 1 GPIO_ACTIVE_HIGH>,  /* MDC */
					<&pio PI 0 GPIO_ACTIVE_HIGH>;  /* MDIO */

			reset-gpios = <&pio PI 4 GPIO_ACTIVE_LOW>;
			reset-delay-us = <50000>;
			reset-post-delay-us = <150000>;  // Datasheet "Power On and PHY Reset Sequence"

			ext_rmii_phy0: ethernet-phy {
				compatible = "ethernet-phy-ieee802.3-c22";
				reg = <0>;
			};
		};

		soft_mdio1: soft-mdio1 {
			compatible = "virtual,mdio-gpio";
			#address-cells = <1>;
			#size-cells = <0>;

			gpios = <&pio PA 8 GPIO_ACTIVE_HIGH>,  /* MDC */
					<&pio PA 9 GPIO_ACTIVE_HIGH>;  /* MDIO */

			reset-gpios = <&pio PI 8 GPIO_ACTIVE_LOW>;
			reset-delay-us = <50000>;
			reset-post-delay-us = <150000>;  // Datasheet "Power On and PHY Reset Sequence"

			ext_rmii_phy1: ethernet-phy {
				compatible = "ethernet-phy-ieee802.3-c22";
				reg = <0>;
			};
		};
	};
};

&emac0 {
	pinctrl-names = "default";
	pinctrl-0 = <&ext_emac0_rmii_pins>;
	phy-mode = "rmii";
	phy-handle = <&ext_rmii_phy0>;
	allwinner,rx-delay-ps = <3100>;
	allwinner,tx-delay-ps = <700>;
	allwinner,ignore-emac-reset-failure;
	clocks = <&ccu CLK_BUS_EMAC0>, <&ccu CLK_EMAC_25M>;
	clock-names = "stmmaceth", "pclk";
	status = "okay";
};

&emac1 {
	pinctrl-names = "default";
	pinctrl-0 = <&ext_emac1_rmii_pins>;
	phy-mode = "rmii";
	phy-handle = <&ext_rmii_phy1>;
	allwinner,rx-delay-ps = <3100>;
	allwinner,tx-delay-ps = <700>;
	allwinner,ignore-emac-reset-failure;
	clocks = <&ccu CLK_BUS_EMAC1>, <&ccu CLK_EMAC_25M>;
	clock-names = "stmmaceth", "pclk";
	status = "okay";
};

// USB

&usbphy {
	usb1_vbus-supply = <&reg_wifi_on>;
	usb3_vbus-supply = <&reg_usb_vbus>;
	dr_mode = "otg";
	status = "okay";
};

&ohci0 {
	status = "okay";
};

&ehci0 {
	status = "okay";
};

&usbotg {
	dr_mode = "peripheral";
	status = "okay";
};

&ohci1 {
	status = "okay";
};

&ehci1 {
	status = "okay";
};

&ohci2 {
	status = "okay";
};

&ehci2 {
	status = "okay";

	#address-cells = <1>;
	#size-cells = <0>;
	/* wbc-modem is connected to 1st port of usb bus */
	wbc_modem: wbc-modem@1 {
		reg = <1>;

		compatible = "wirenboard,wbc-usb";
		power-type = <2>;
		status = "disabled";

		/* keeps compatibility in wb of-parsing tools */
		gpio-xlate-type = "bank_pin";
		gpio-pins-per-bank = <32>;
		power-gpios = <&pio PE 4 GPIO_ACTIVE_HIGH>;
		pwrkey-gpios = <&pio PG 14 GPIO_ACTIVE_HIGH>;
		status-gpios = <&pio PE 12 GPIO_ACTIVE_LOW>;
		simselect-gpios = <&pio PE 2 GPIO_ACTIVE_HIGH>;
	};
};

&ohci3 {
	status = "okay";
};

&ehci3 {
	status = "okay";
};

&de {
	status = "okay";
};

&hdmi {
	status = "okay";
};

&hdmi_out {
	hdmi_out_con: endpoint {
		remote-endpoint = <&hdmi_con_in>;
	};
};

&gpu {
	operating-points-v2 = <&gpu_opp_table>;
	status = "okay";
	mali-supply = <&reg_dcdc4>;
	power-domains = <&prcm_ppu 2>;
};

&iommu {
	status = "okay";
};
